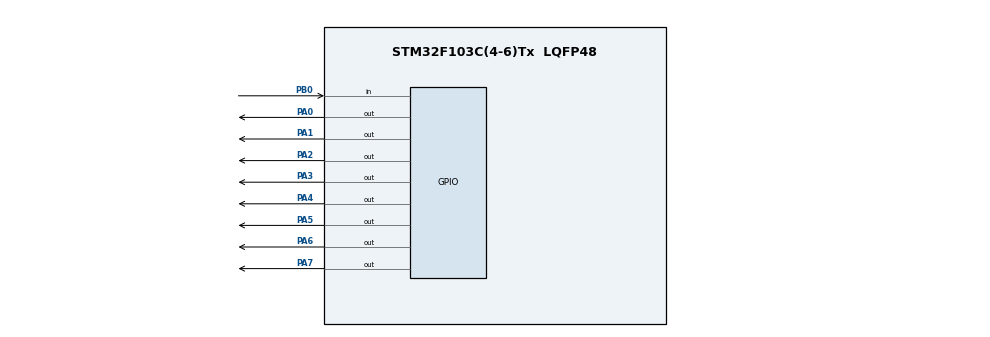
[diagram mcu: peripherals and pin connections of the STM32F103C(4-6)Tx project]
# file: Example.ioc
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Mcu.Family=STM32F1
Mcu.Name=STM32F103C(4-6)Tx
Mcu.Package=LQFP48
NVIC.PriorityGroup=NVIC_PRIORITYGROUP_4
NVIC.TIM2_IRQn=true\:0\:0\:false\:false\:true\:true\:true
PA0-WKUP.Signal=GPIO_Output
PA1.Signal=GPIO_Output
PA2.Signal=GPIO_Output
PA3.Signal=GPIO_Output
PA4.Signal=GPIO_Output
PA5.Signal=GPIO_Output
PA6.Signal=GPIO_Output
PA7.Signal=GPIO_Output
PB0.GPIO_PuPd=GPIO_PULLUP
PB0.Signal=GPIO_Input
ProjectManager.HeapSize=0x200
ProjectManager.StackSize=0x400
ProjectManager.TargetToolchain=STM32CubeIDE
RCC.APB1Freq_Value=8000000
RCC.APB2Freq_Value=8000000
TIM2.Period=10-1
TIM2.Prescaler=8000-1
VP_SYS_VS_ND.Mode=No_Debug
VP_TIM2_VS_ClockSourceINT.Mode=Internal
board=custom

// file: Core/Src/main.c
/* USER CODE BEGIN Header */
/**
  ******************************************************************************
  * @file           : main.c
  * @brief          : Main program body
  ******************************************************************************
  * @attention
  *
  * <h2><center>&copy; Copyright (c) 2021 STMicroelectronics.
  * All rights reserved.</center></h2>
  *
  * This software component is licensed by ST under BSD 3-Clause license,
  * the "License"; You may not use this file except in compliance with the
  * License. You may obtain a copy of the License at:
  *                        opensource.org/licenses/BSD-3-Clause
  *
  ******************************************************************************
  */
/* USER CODE END Header */
#include "main.h"

TIM_HandleTypeDef htim2;

void SystemClock_Config(void);
static void MX_GPIO_Init(void);
static void MX_TIM2_Init(void);

/* USER CODE BEGIN 0 */
enum ButtonState btnState = BUTTON_RELEASED;
/* USER CODE END 0 */

int main(void)
{

  /* MCU Configuration--------------------------------------------------------*/

  /* Reset of all peripherals, Initializes the Flash interface and the Systick. */
  HAL_Init();

  /* Configure the system clock */
  SystemClock_Config();

  /* Initialize all configured peripherals */
  MX_GPIO_Init();
  MX_TIM2_Init();
  /* USER CODE BEGIN 2 */
  HAL_TIM_Base_Start_IT(&htim2);
  /* USER CODE END 2 */

  /* Infinite loop */
  /* USER CODE BEGIN WHILE */
  int index = 0;
  HAL_Delay(1000);
  while (1)
  {
    /* USER CODE END WHILE */

    /* USER CODE BEGIN 3 */
	  if(btnState == BUTTON_PRESSED){
		  increaseDisplayLed(index++);
		  if(index >= 8) index = 0;
	  }
	  else if(btnState == BUTTON_RELEASED){
		  increaseDisplayLed(8);
	  }
	  else if(btnState == BUTTON_PRESSED_MORE_THAN_1_SECOND){
		  increaseDisplayLed(index++);
		  if(index >= 8) index = 0;
		  HAL_Delay(500);
	  }

  }
  /* USER CODE END 3 */
}

void SystemClock_Config(void)
{
  RCC_OscInitTypeDef RCC_OscInitStruct = {0};
  RCC_ClkInitTypeDef RCC_ClkInitStruct = {0};

  /** Initializes the RCC Oscillators according to the specified parameters
  * in the RCC_OscInitTypeDef structure.
  */
  RCC_OscInitStruct.OscillatorType = RCC_OSCILLATORTYPE_HSI;
  RCC_OscInitStruct.HSIState = RCC_HSI_ON;
  RCC_OscInitStruct.HSICalibrationValue = RCC_HSICALIBRATION_DEFAULT;
  RCC_OscInitStruct.PLL.PLLState = RCC_PLL_NONE;
  if (HAL_RCC_OscConfig(&RCC_OscInitStruct) != HAL_OK)
  {
    Error_Handler();
  }
  /** Initializes the CPU, AHB and APB buses clocks
  */
  RCC_ClkInitStruct.ClockType = RCC_CLOCKTYPE_HCLK|RCC_CLOCKTYPE_SYSCLK
                              |RCC_CLOCKTYPE_PCLK1|RCC_CLOCKTYPE_PCLK2;
  RCC_ClkInitStruct.SYSCLKSource = RCC_SYSCLKSOURCE_HSI;
  RCC_ClkInitStruct.AHBCLKDivider = RCC_SYSCLK_DIV1;
  RCC_ClkInitStruct.APB1CLKDivider = RCC_HCLK_DIV1;
  RCC_ClkInitStruct.APB2CLKDivider = RCC_HCLK_DIV1;

  if (HAL_RCC_ClockConfig(&RCC_ClkInitStruct, FLASH_LATENCY_0) != HAL_OK)
  {
    Error_Handler();
  }
}

static void MX_TIM2_Init(void)
{

  TIM_ClockConfigTypeDef sClockSourceConfig = {0};
  TIM_MasterConfigTypeDef sMasterConfig = {0};

  htim2.Instance = TIM2;
  htim2.Init.Prescaler = 8000-1;
  htim2.Init.CounterMode = TIM_COUNTERMODE_UP;
  htim2.Init.Period = 10-1;
  htim2.Init.ClockDivision = TIM_CLOCKDIVISION_DIV1;
  htim2.Init.AutoReloadPreload = TIM_AUTORELOAD_PRELOAD_DISABLE;
  if (HAL_TIM_Base_Init(&htim2) != HAL_OK)
  {
    Error_Handler();
  }
  sClockSourceConfig.ClockSource = TIM_CLOCKSOURCE_INTERNAL;
  if (HAL_TIM_ConfigClockSource(&htim2, &sClockSourceConfig) != HAL_OK)
  {
    Error_Handler();
  }
  sMasterConfig.MasterOutputTrigger = TIM_TRGO_RESET;
  sMasterConfig.MasterSlaveMode = TIM_MASTERSLAVEMODE_DISABLE;
  if (HAL_TIMEx_MasterConfigSynchronization(&htim2, &sMasterConfig) != HAL_OK)
  {
    Error_Handler();
  }

}

static void MX_GPIO_Init(void)
{
  GPIO_InitTypeDef GPIO_InitStruct = {0};

  /* GPIO Ports Clock Enable */
  __HAL_RCC_GPIOA_CLK_ENABLE();
  __HAL_RCC_GPIOB_CLK_ENABLE();

  /*Configure GPIO pin Output Level */
  HAL_GPIO_WritePin(GPIOA, GPIO_PIN_0|GPIO_PIN_1|GPIO_PIN_2|GPIO_PIN_3
                          |GPIO_PIN_4|GPIO_PIN_5|GPIO_PIN_6|GPIO_PIN_7, GPIO_PIN_RESET);

  /*Configure GPIO pins : PA0 PA1 PA2 PA3
                           PA4 PA5 PA6 PA7 */
  GPIO_InitStruct.Pin = GPIO_PIN_0|GPIO_PIN_1|GPIO_PIN_2|GPIO_PIN_3
                          |GPIO_PIN_4|GPIO_PIN_5|GPIO_PIN_6|GPIO_PIN_7;
  GPIO_InitStruct.Mode = GPIO_MODE_OUTPUT_PP;
  GPIO_InitStruct.Pull = GPIO_NOPULL;
  GPIO_InitStruct.Speed = GPIO_SPEED_FREQ_LOW;
  HAL_GPIO_Init(GPIOA, &GPIO_InitStruct);

  /*Configure GPIO pin : PB0 */
  GPIO_InitStruct.Pin = GPIO_PIN_0;
  GPIO_InitStruct.Mode = GPIO_MODE_INPUT;
  GPIO_InitStruct.Pull = GPIO_PULLUP;
  HAL_GPIO_Init(GPIOB, &GPIO_InitStruct);

}

/* USER CODE BEGIN 4 */
void HAL_TIM_PeriodElapsedCallback(TIM_HandleTypeDef * htim){
	button_reading();
	fsm_for_input_processing();
	btnState = getBtnState();
}
/* USER CODE END 4 */

void Error_Handler(void)
{
  __disable_irq();
  while (1)
  {
  }
}

/************************ (C) COPYRIGHT STMicroelectronics *****END OF FILE****/
